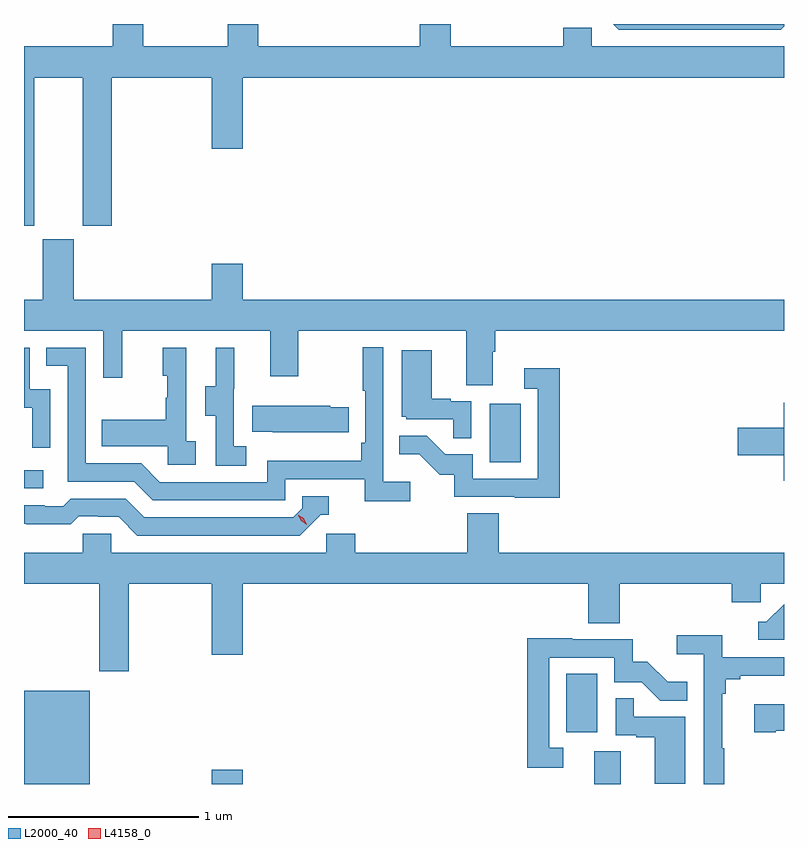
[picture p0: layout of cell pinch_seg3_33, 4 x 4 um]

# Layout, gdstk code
import gdstk
lib = gdstk.Library(unit=1e-6, precision=1e-09)
def R(c, l, rs):  # rectangles x0, y0, x1, y1
    for r in rs: c.add(gdstk.rectangle(r[:2], r[2:], *l))
def P(c, l, *ps):  # polygons
    for p in ps: c.add(gdstk.Polygon(p, *l))
L2000_40 = (2000, 40)
L4158_0 = (4158, 0)

pinch_seg3_33 = lib.new_cell('pinch_seg3_33')
R(pinch_seg3_33, L2000_40, [(1111.073,731.83,1111.42,732.322), (1112.06,731.83,1112.224,731.905), (1114.073,731.83,1114.213,732.002), (1113.926,732.102,1114.09,732.409), (1111.073,733.386,1111.174,733.482), (1113.524,733.524,1113.688,733.831)])
P(pinch_seg3_33, L2000_40, [(1115.073,735.818),(1115.073,735.83),(1114.174,735.83),(1114.203,735.801),(1115.056,735.801)],
  [(1111.126,735.548),(1111.382,735.548),(1111.382,734.769),(1111.535,734.769),(1111.535,735.548),(1112.06,735.548),(1112.06,735.174),(1112.224,735.174),(1112.224,735.548),(1115.073,735.548),(1115.073,735.712),(1114.062,735.712),(1114.062,735.81),(1113.911,735.81),(1113.911,735.712),(1113.32,735.712),(1113.32,735.83),(1113.155,735.83),(1113.155,735.712),(1112.306,735.712),(1112.306,735.83),(1112.146,735.83),(1112.146,735.712),(1111.701,735.712),(1111.701,735.83),(1111.541,735.83),(1111.541,735.712),(1111.073,735.712),(1111.073,734.769),(1111.126,734.769)],
  [(1113.541,734.104),(1113.554,734.104),(1113.554,734.216),(1115.073,734.216),(1115.073,734.38),(1112.224,734.38),(1112.224,734.569),(1112.06,734.569),(1112.06,734.38),(1111.336,734.38),(1111.336,734.697),(1111.172,734.697),(1111.172,734.38),(1111.073,734.38),(1111.073,734.216),(1111.491,734.216),(1111.491,733.968),(1111.589,733.968),(1111.589,734.216),(1112.369,734.216),(1112.369,733.977),(1112.517,733.977),(1112.517,734.216),(1113.401,734.216),(1113.401,733.93),(1113.541,733.93)],
  [(1113.106,733.42),(1112.964,733.42),(1112.964,734.128),(1112.856,734.128),(1112.856,733.9),(1112.868,733.9),(1112.868,733.627),(1112.848,733.627),(1112.848,733.531),(1112.352,733.531),(1112.352,733.419),(1111.788,733.419),(1111.689,733.518),(1111.398,733.518),(1111.398,734.127),(1111.189,734.127),(1111.189,734.031),(1111.302,734.031),(1111.302,733.422),(1111.652,733.422),(1111.751,733.323),(1112.448,733.323),(1112.448,733.434),(1112.867,733.434),(1112.867,733.318),(1113.106,733.318)],
  [(1111.212,733.908),(1111.104,733.908),(1111.104,734.127),(1111.073,734.127),(1111.073,733.811),(1111.116,733.811),(1111.116,733.599),(1111.212,733.599)],
  [(1112.242,733.607),(1112.178,733.607),(1112.178,733.911),(1112.18,733.911),(1112.18,734.125),(1112.081,734.125),(1112.081,733.923),(1112.027,733.923),(1112.027,733.768),(1112.082,733.768),(1112.082,733.504),(1112.242,733.504)],
  [(1111.978,733.634),(1111.926,733.634),(1111.926,734.125),(1111.802,734.125),(1111.802,733.98),(1111.828,733.98),(1111.828,733.862),(1111.818,733.862),(1111.818,733.747),(1111.483,733.747),(1111.483,733.607),(1111.83,733.607),(1111.83,733.509),(1111.978,733.509)],
  [(1113.426,733.845),(1113.32,733.845),(1113.32,733.858),(1113.22,733.858),(1113.22,734.113),(1113.062,734.113),(1113.062,733.764),(1113.084,733.764),(1113.084,733.749),(1113.331,733.749),(1113.331,733.651),(1113.426,733.651)],
  [(1113.893,734.017),(1113.705,734.017),(1113.705,733.911),(1113.777,733.911),(1113.777,733.437),(1113.435,733.437),(1113.435,733.566),(1113.291,733.566),(1113.193,733.664),(1113.049,733.664),(1113.049,733.565),(1113.153,733.565),(1113.26,733.458),(1113.337,733.458),(1113.337,733.341),(1113.655,733.341),(1113.655,733.336),(1113.893,733.336)],
  [(1115.073,733.837),(1115.072,733.837),(1115.072,733.706),(1114.83,733.706),(1114.83,733.559),(1115.072,733.559),(1115.072,733.427),(1115.073,733.427)],
  [(1112.783,733.812),(1112.685,733.812),(1112.685,733.822),(1112.275,733.822),(1112.275,733.685),(1112.383,733.685),(1112.383,733.682),(1112.783,733.682)],
  [(1112.634,733.248),(1112.677,733.248),(1112.677,733.344),(1112.538,733.344),(1112.538,733.281),(1112.49,733.233),(1111.707,733.233),(1111.608,733.332),(1111.319,733.332),(1111.28,733.293),(1111.181,733.293),(1111.181,733.296),(1111.073,733.296),(1111.073,733.199),(1111.086,733.199),(1111.086,733.197),(1111.319,733.197),(1111.361,733.239),(1111.464,733.239),(1111.464,733.236),(1111.571,733.236),(1111.67,733.137),(1112.523,733.137)],
  [(1111.623,732.884),(1112.06,732.884),(1112.06,732.51),(1112.224,732.51),(1112.224,732.884),(1114.043,732.884),(1114.043,732.676),(1114.208,732.676),(1114.208,732.884),(1114.799,732.884),(1114.799,732.786),(1114.95,732.786),(1114.95,732.884),(1115.073,732.884),(1115.073,733.048),(1113.572,733.048),(1113.572,733.256),(1113.407,733.256),(1113.407,733.048),(1112.816,733.048),(1112.816,733.146),(1112.664,733.146),(1112.664,733.048),(1111.533,733.048),(1111.533,733.146),(1111.383,733.146),(1111.383,733.048),(1111.073,733.048),(1111.073,732.884),(1111.468,732.884),(1111.468,732.423),(1111.623,732.423)],
  [(1115.073,732.777),(1114.98,732.684),(1114.937,732.684),(1114.937,732.588),(1115.073,732.588)],
  [(1114.759,732.017),(1114.747,732.017),(1114.747,732.305),(1114.766,732.305),(1114.766,732.382),(1114.843,732.382),(1114.843,732.401),(1115.073,732.401),(1115.073,732.498),(1114.748,732.498),(1114.748,732.614),(1114.509,732.614),(1114.509,732.512),(1114.65,732.512),(1114.65,731.83),(1114.759,731.83)],
  [(1113.91,732.021),(1113.837,732.021),(1113.837,732.495),(1114.179,732.495),(1114.179,732.366),(1114.323,732.366),(1114.421,732.268),(1114.565,732.268),(1114.565,732.367),(1114.461,732.367),(1114.354,732.474),(1114.278,732.474),(1114.278,732.591),(1113.959,732.591),(1113.959,732.596),(1113.721,732.596),(1113.721,731.916),(1113.91,731.916)],
  [(1114.552,732.183),(1114.283,732.183),(1114.283,732.281),(1114.188,732.281),(1114.188,732.087),(1114.295,732.087),(1114.295,732.075),(1114.394,732.075),(1114.394,731.832),(1114.552,731.832)],
  [(1115.029,732.11),(1115.073,732.11),(1115.073,732.25),(1114.917,732.25),(1114.917,732.103),(1115.029,732.103)])
P(pinch_seg3_33, L4158_0, [(1112.562,733.195),(1112.531,733.215),(1112.514,733.247),(1112.514,733.248),(1112.515,733.248),(1112.545,733.228),(1112.562,733.196),(1112.562,733.195)])

lib.write_gds('pinch_seg3_33.gds')
